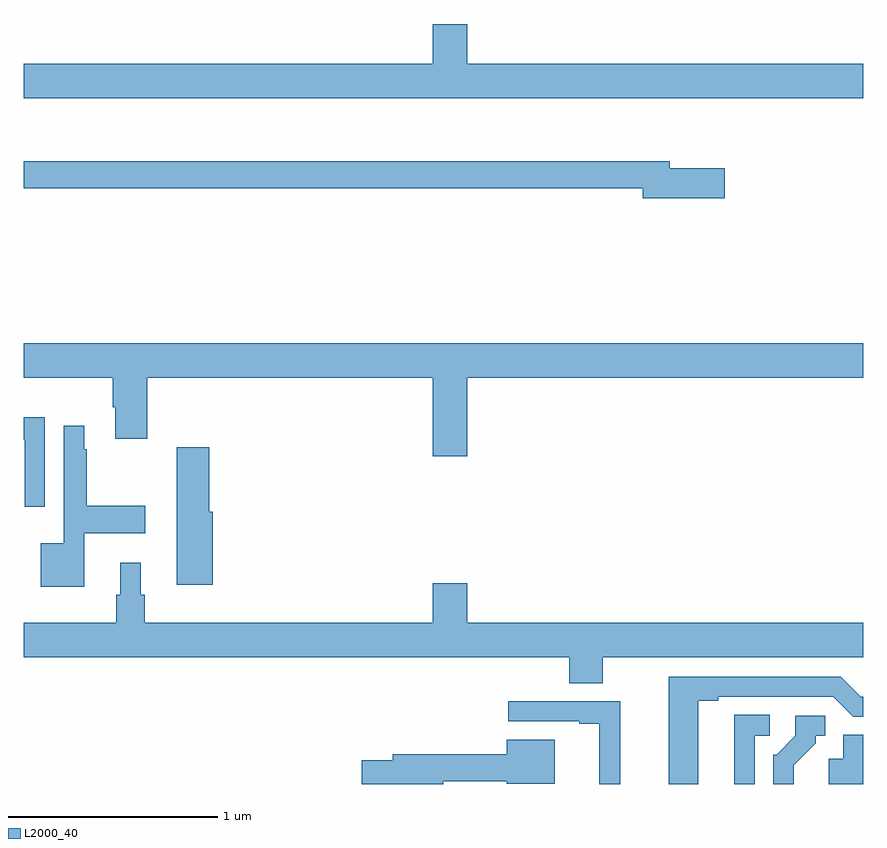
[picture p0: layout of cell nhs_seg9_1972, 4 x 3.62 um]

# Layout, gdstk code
import gdstk
lib = gdstk.Library(unit=1e-6, precision=1e-09)
def P(c, l, *ps):  # polygons
    for p in ps: c.add(gdstk.Polygon(p, *l))
L2000_40 = (2000, 40)

nhs_seg9_1972 = lib.new_cell('nhs_seg9_1972')
P(nhs_seg9_1972, L2000_40, [(227,1181.932),(225.112,1181.932),(225.112,1182.121),(224.948,1182.121),(224.948,1181.932),(223,1181.932),(223,1181.768),(227,1181.768)],
  [(226.339,1181.433),(226.078,1181.433),(226.078,1181.467),(223,1181.467),(223,1181.338),(225.95,1181.338),(225.95,1181.291),(226.339,1181.291)],
  [(225.112,1180.436),(227,1180.436),(227,1180.6),(223,1180.6),(223,1180.436),(223.424,1180.436),(223.424,1180.294),(223.436,1180.294),(223.436,1180.146),(223.589,1180.146),(223.589,1180.436),(224.948,1180.436),(224.948,1180.062),(225.112,1180.062)],
  [(223.101,1180.248),(223,1180.248),(223,1180.14),(223.004,1180.14),(223.004,1179.822),(223.101,1179.822)],
  [(223.288,1179.695),(223.579,1179.695),(223.579,1179.825),(223.3,1179.825),(223.3,1180.094),(223.288,1180.094),(223.288,1180.207),(223.191,1180.207),(223.191,1179.646),(223.082,1179.646),(223.082,1179.44),(223.288,1179.44)],
  [(223.901,1179.798),(223.883,1179.798),(223.883,1180.105),(223.729,1180.105),(223.729,1179.913),(223.73,1179.913),(223.73,1179.45),(223.901,1179.45)],
  [(225.759,1179.104),(227,1179.104),(227,1179.268),(225.112,1179.268),(225.112,1179.457),(224.948,1179.457),(224.948,1179.268),(223.577,1179.268),(223.577,1179.402),(223.558,1179.402),(223.558,1179.553),(223.46,1179.553),(223.46,1179.402),(223.441,1179.402),(223.441,1179.268),(223,1179.268),(223,1179.104),(225.599,1179.104),(225.599,1178.98),(225.759,1178.98)],
  [(226.213,1178.896),(226.309,1178.896),(226.309,1178.916),(226.857,1178.916),(226.953,1178.82),(227,1178.82),(227,1178.916),(226.989,1178.916),(226.893,1179.012),(226.073,1179.012),(226.073,1178.5),(226.213,1178.5)],
  [(225.843,1178.895),(225.309,1178.895),(225.309,1178.799),(225.647,1178.799),(225.647,1178.787),(225.743,1178.787),(225.743,1178.5),(225.843,1178.5)],
  [(226.482,1178.73),(226.555,1178.73),(226.555,1178.831),(226.385,1178.831),(226.385,1178.5),(226.482,1178.5)],
  [(226.669,1178.59),(226.774,1178.695),(226.774,1178.73),(226.819,1178.73),(226.819,1178.826),(226.677,1178.826),(226.677,1178.73),(226.587,1178.64),(226.572,1178.64),(226.572,1178.5),(226.669,1178.5)],
  [(227,1178.735),(226.904,1178.735),(226.904,1178.62),(226.835,1178.62),(226.835,1178.5),(227,1178.5)],
  [(224.998,1178.512),(225.302,1178.512),(225.302,1178.501),(225.529,1178.501),(225.529,1178.71),(225.302,1178.71),(225.302,1178.641),(224.759,1178.641),(224.759,1178.612),(224.61,1178.612),(224.61,1178.5),(224.998,1178.5)])

lib.write_gds('nhs_seg9_1972.gds')
